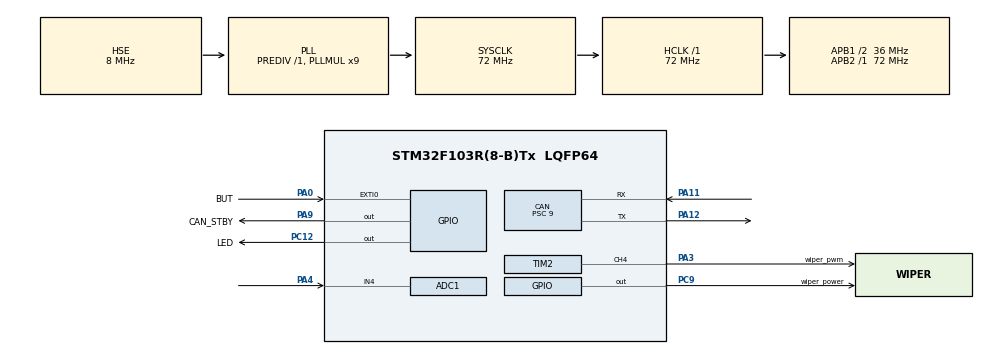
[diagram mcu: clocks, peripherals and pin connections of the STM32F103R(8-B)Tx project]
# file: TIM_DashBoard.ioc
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ADC1.Channel-0\#ChannelRegularConversion=ADC_CHANNEL_4
ADC1.ContinuousConvMode=DISABLE
ADC1.NbrOfConversionFlag=1
ADC1.Rank-0\#ChannelRegularConversion=1
ADC1.SamplingTime-0\#ChannelRegularConversion=ADC_SAMPLETIME_1CYCLE_5
ADC1.master=1
CAN.AWUM=DISABLE
CAN.BS1=CAN_BS1_13TQ
CAN.BS2=CAN_BS2_2TQ
CAN.CalculateBaudRate=250000
CAN.CalculateTimeBit=4000
CAN.CalculateTimeQuantum=250.0
CAN.Prescaler=9
CAN.SJW=CAN_SJW_4TQ
Dma.ADC1.0.Direction=DMA_PERIPH_TO_MEMORY
Dma.ADC1.0.Instance=DMA1_Channel1
Dma.ADC1.0.MemDataAlignment=DMA_MDATAALIGN_HALFWORD
Dma.ADC1.0.MemInc=DMA_MINC_ENABLE
Dma.ADC1.0.Mode=DMA_NORMAL
Dma.ADC1.0.PeriphDataAlignment=DMA_PDATAALIGN_HALFWORD
Dma.ADC1.0.PeriphInc=DMA_PINC_DISABLE
Dma.ADC1.0.Priority=DMA_PRIORITY_LOW
Dma.MEMTOMEM.1.Direction=DMA_MEMORY_TO_MEMORY
Dma.MEMTOMEM.1.Instance=DMA1_Channel2
Dma.MEMTOMEM.1.MemDataAlignment=DMA_MDATAALIGN_HALFWORD
Dma.MEMTOMEM.1.MemInc=DMA_MINC_DISABLE
Dma.MEMTOMEM.1.Mode=DMA_NORMAL
Dma.MEMTOMEM.1.PeriphDataAlignment=DMA_PDATAALIGN_HALFWORD
Dma.MEMTOMEM.1.PeriphInc=DMA_PINC_DISABLE
Dma.MEMTOMEM.1.Priority=DMA_PRIORITY_LOW
Dma.Request0=ADC1
Dma.Request1=MEMTOMEM
Mcu.Family=STM32F1
Mcu.Name=STM32F103R(8-B)Tx
Mcu.Package=LQFP64
NVIC.ADC1_2_IRQn=true\:0\:0\:false\:false\:true\:true\:true
NVIC.CAN1_RX1_IRQn=true\:0\:0\:false\:false\:true\:true\:true
NVIC.DMA1_Channel1_IRQn=true\:0\:0\:false\:false\:true\:false\:true
NVIC.DMA1_Channel2_IRQn=true\:0\:0\:false\:false\:true\:true\:true
NVIC.EXTI0_IRQn=true\:0\:0\:false\:false\:true\:true\:true
NVIC.PriorityGroup=NVIC_PRIORITYGROUP_4
NVIC.TIM1_BRK_IRQn=true\:0\:0\:false\:false\:true\:true\:true
NVIC.TIM1_TRG_COM_IRQn=true\:0\:0\:false\:false\:true\:true\:true
NVIC.TIM1_UP_IRQn=true\:0\:0\:false\:false\:true\:true\:true
NVIC.TIM2_IRQn=true\:0\:0\:false\:false\:true\:true\:true
NVIC.TIM3_IRQn=true\:0\:0\:false\:false\:true\:true\:true
NVIC.TIM4_IRQn=true\:0\:0\:false\:false\:true\:true\:true
NVIC.USB_LP_CAN1_RX0_IRQn=true\:0\:0\:false\:false\:true\:true\:true
PA0-WKUP.GPIO_Label=BUT
PA0-WKUP.GPIO_ModeDefaultEXTI=GPIO_MODE_IT_RISING_FALLING
PA0-WKUP.Signal=GPXTI0
PA11.Mode=CAN_Activate
PA11.Signal=CAN_RX
PA12.Mode=CAN_Activate
PA12.Signal=CAN_TX
PA13.Mode=Trace_Asynchronous_SW
PA13.Signal=SYS_JTMS-SWDIO
PA14.Mode=Trace_Asynchronous_SW
PA14.Signal=SYS_JTCK-SWCLK
PA3.GPIO_Label=wiper_pwm
PA3.Signal=S_TIM2_CH4
PA4.Signal=ADCx_IN4
PA9.GPIO_Label=CAN_STBY
PA9.Signal=GPIO_Output
PB3.Mode=Trace_Asynchronous_SW
PB3.Signal=SYS_JTDO-TRACESWO
PC12.GPIO_Label=LED
PC12.Signal=GPIO_Output
PC14-OSC32_IN.Mode=LSE-External-Oscillator
PC14-OSC32_IN.Signal=RCC_OSC32_IN
PC15-OSC32_OUT.Mode=LSE-External-Oscillator
PC15-OSC32_OUT.Signal=RCC_OSC32_OUT
PC9.GPIO_Label=wiper_power
PC9.Signal=GPIO_Output
PD0-OSC_IN.Mode=HSE-External-Oscillator
PD0-OSC_IN.Signal=RCC_OSC_IN
PD1-OSC_OUT.Mode=HSE-External-Oscillator
PD1-OSC_OUT.Signal=RCC_OSC_OUT
ProjectManager.HeapSize=0x200
ProjectManager.StackSize=0x400
ProjectManager.TargetToolchain=STM32CubeIDE
RCC.ADCPresc=RCC_ADCPCLK2_DIV8
RCC.AHBFreq_Value=72000000
RCC.APB1CLKDivider=RCC_HCLK_DIV2
RCC.APB1Freq_Value=36000000
RCC.APB1TimFreq_Value=72000000
RCC.APB2Freq_Value=72000000
RCC.APB2TimFreq_Value=72000000
RCC.HCLKFreq_Value=72000000
RCC.PLLMUL=RCC_PLL_MUL9
RCC.PLLSourceVirtual=RCC_PLLSOURCE_HSE
RCC.SYSCLKFreq_VALUE=72000000
RCC.SYSCLKSource=RCC_SYSCLKSOURCE_PLLCLK
RCC.USBFreq_Value=72000000
SH.ADCx_IN4.0=ADC1_IN4,IN4
SH.S_TIM2_CH4.0=TIM2_CH4,PWM Generation4 CH4
TIM1.Period=10000-1
TIM1.Prescaler=720-1
TIM2.AutoReloadPreload=TIM_AUTORELOAD_PRELOAD_DISABLE
TIM2.Channel-PWM\ Generation4\ CH4=TIM_CHANNEL_4
TIM2.ClockDivision=TIM_CLOCKDIVISION_DIV1
TIM2.OC4Preload_PWM=DISABLE
TIM2.Period=2000-1
TIM2.Prescaler=720-1
TIM2.Pulse-PWM\ Generation4\ CH4=0
TIM3.Period=10000-1
TIM3.Prescaler=7200-1
TIM4.Period=1000-1
TIM4.Prescaler=7200-1
VP_TIM1_VS_ClockSourceINT.Mode=Internal
VP_TIM2_VS_ClockSourceINT.Mode=Internal
VP_TIM3_VS_ClockSourceINT.Mode=Internal
VP_TIM4_VS_ClockSourceINT.Mode=Internal
board=custom

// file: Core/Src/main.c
/* USER CODE BEGIN Header */
/**
  ******************************************************************************
  * @file           : main.c
  * @brief          : Main program body
  ******************************************************************************
  * @attention
  *
  * <h2><center>&copy; Copyright (c) 2021 STMicroelectronics.
  * All rights reserved.</center></h2>
  *
  * This software component is licensed by ST under BSD 3-Clause license,
  * the "License"; You may not use this file except in compliance with the
  * License. You may obtain a copy of the License at:
  *                        opensource.org/licenses/BSD-3-Clause
  *
  ******************************************************************************
  */
/* USER CODE END Header */
#include "main.h"
#include "adc.h"
#include "can.h"
#include "dma.h"
#include "tim.h"
#include "gpio.h"

/* USER CODE BEGIN Includes */
#include "user_can.h"
#include "wiper.h"
#include "user_can_functs.h"

/* USER CODE END Includes */

/* USER CODE BEGIN PV */

uint8_t state = 0x01;
volatile int8_t message[8]={1};

extern uint8_t	RxData  ;
extern uint32_t RxFifo 	;
extern uint8_t	CAN_Data;

volatile int16_t ADC_Values[3] = {0,0,0};

/* USER CODE END PV */

void SystemClock_Config(void);

int main(void)
{

  /* MCU Configuration--------------------------------------------------------*/

  /* Reset of all peripherals, Initializes the Flash interface and the Systick. */
  HAL_Init();

  /* Configure the system clock */
  SystemClock_Config();

  /* Initialize all configured peripherals */
  MX_GPIO_Init();
  MX_CAN_Init();
  MX_TIM2_Init();
  MX_DMA_Init();
  MX_ADC1_Init();
  MX_TIM4_Init();
  MX_TIM1_Init();
  MX_TIM3_Init();
  /* USER CODE BEGIN 2 */

  CAN_receive_init();

  wiper_start(wiper_speed_1);
  HAL_TIM_Base_Start_IT(&htim1);
  //HAL_TIM_Base_Start_IT(&htim2);
  HAL_TIM_Base_Start_IT(&htim3);
  //HAL_TIM_Base_Start_IT(&htim4);

  wiper_start(3);

  /* USER CODE END 2 */

  /* Infinite loop */
  while (1)
  {

    /* USER CODE BEGIN 3 */

	  HAL_GPIO_WritePin(wiper_power_GPIO_Port, wiper_power_Pin, 1);
	  CAN_send_message(AT07_LIGHTS_CMD, AT07_LIGHTS_LENGTH, message );

	  //CAN_send_message(AT07_LIGHTS_CMD, AT07_LIGHTS_LENGTH, message);
	  HAL_Delay(1000);

	  //message[0] =!message[0];
  }
  /* USER CODE END 3 */
}

void SystemClock_Config(void)
{
  RCC_OscInitTypeDef RCC_OscInitStruct = {0};
  RCC_ClkInitTypeDef RCC_ClkInitStruct = {0};
  RCC_PeriphCLKInitTypeDef PeriphClkInit = {0};

  /** Initializes the RCC Oscillators according to the specified parameters
  * in the RCC_OscInitTypeDef structure.
  */
  RCC_OscInitStruct.OscillatorType = RCC_OSCILLATORTYPE_HSE;
  RCC_OscInitStruct.HSEState = RCC_HSE_ON;
  RCC_OscInitStruct.HSEPredivValue = RCC_HSE_PREDIV_DIV1;
  RCC_OscInitStruct.HSIState = RCC_HSI_ON;
  RCC_OscInitStruct.PLL.PLLState = RCC_PLL_ON;
  RCC_OscInitStruct.PLL.PLLSource = RCC_PLLSOURCE_HSE;
  RCC_OscInitStruct.PLL.PLLMUL = RCC_PLL_MUL9;
  if (HAL_RCC_OscConfig(&RCC_OscInitStruct) != HAL_OK)
  {
    Error_Handler();
  }
  /** Initializes the CPU, AHB and APB buses clocks
  */
  RCC_ClkInitStruct.ClockType = RCC_CLOCKTYPE_HCLK|RCC_CLOCKTYPE_SYSCLK
                              |RCC_CLOCKTYPE_PCLK1|RCC_CLOCKTYPE_PCLK2;
  RCC_ClkInitStruct.SYSCLKSource = RCC_SYSCLKSOURCE_PLLCLK;
  RCC_ClkInitStruct.AHBCLKDivider = RCC_SYSCLK_DIV1;
  RCC_ClkInitStruct.APB1CLKDivider = RCC_HCLK_DIV2;
  RCC_ClkInitStruct.APB2CLKDivider = RCC_HCLK_DIV1;

  if (HAL_RCC_ClockConfig(&RCC_ClkInitStruct, FLASH_LATENCY_2) != HAL_OK)
  {
    Error_Handler();
  }
  PeriphClkInit.PeriphClockSelection = RCC_PERIPHCLK_ADC;
  PeriphClkInit.AdcClockSelection = RCC_ADCPCLK2_DIV8;
  if (HAL_RCCEx_PeriphCLKConfig(&PeriphClkInit) != HAL_OK)
  {
    Error_Handler();
  }
}

void Error_Handler(void)
{
  __disable_irq();
  while (1)
  {
  }
}
